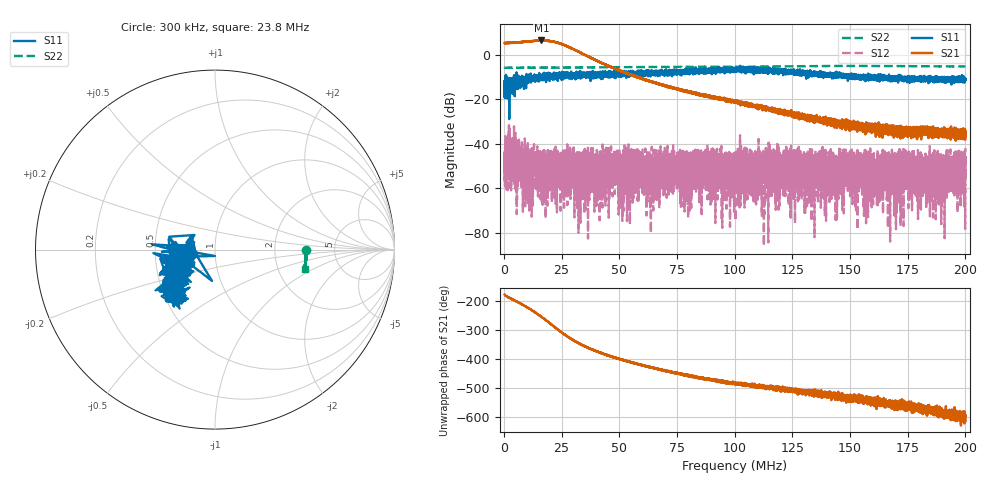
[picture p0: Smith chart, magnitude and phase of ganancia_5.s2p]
# Hz S DB R 50
! CMT, M5065, 19127446, 24.2.4/2
! Date: 11/8/2024 4:50:58 PM
! Data: Format (Calibration Info)
! Freq	S11:dB/Ang(F2)	S21:dB/Ang(F2)	S12:dB/Ang(F2)	S22:dB/Ang(F2)
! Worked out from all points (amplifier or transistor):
!   9000 points, 300 kHz to 200 MHz, reference 50 ohm
!   highest |S21| = 6.4 dB at 16.26 MHz (marker M1)
!   |S21| within 3 dB of that: start of sweep to 28.21 MHz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
!   unconditionally stable (mu >= 1): start of sweep to end of sweep
!   at 33.59 MHz: K = 156.48, MAG = 2.5 dB, |S12| = -54.3 dB
!   at 100.2 MHz: K = 492.59, MAG = -18.0 dB, |S12| = -44.6 dB
!   at 200 MHz: K = 2803.79, MAG = -34.8 dB, |S12| = -42.0 dB
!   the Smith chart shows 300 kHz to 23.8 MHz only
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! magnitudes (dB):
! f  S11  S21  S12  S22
! 300 kHz  -17.1  5.2  -43.9  -5.9
! 7.202 MHz  -14.0  5.6  -44.4  -5.9
! 9.376 MHz  -9.9  5.8  -60.5  -5.9
! 16.26 MHz  -9.3  6.4  -61.0  -5.8
! 33.59 MHz  -9.5  0.7  -54.3  -5.8
! 50.41 MHz  -9.6  -7.3  -59.9  -5.6
! 66.87 MHz  -8.5  -13.1  -48.5  -5.5
! 100.2 MHz  -6.0  -20.7  -44.6  -5.4
! 127.3 MHz  -7.2  -28.0  -49.6  -5.2
! 133.4 MHz  -8.6  -28.8  -52.3  -5.2
! 135.7 MHz  -8.9  -29.0  -49.8  -5.1
! 144 MHz  -9.3  -31.5  -51.8  -5.1
! 148.4 MHz  -9.2  -32.6  -46.9  -5.1
! 151.9 MHz  -10.7  -32.7  -50.1  -5.1
! 166.7 MHz  -10.4  -34.8  -43.8  -5.1
! 169.4 MHz  -11.4  -33.8  -49.2  -5.1
! 174.3 MHz  -10.9  -33.4  -48.7  -5.2
! 176.1 MHz  -10.9  -34.9  -53.0  -5.2
! 178 MHz  -10.7  -33.6  -53.8  -5.2
! 187.8 MHz  -10.5  -36.1  -56.5  -5.2
! 198.4 MHz  -11.0  -35.7  -48.4  -5.3
! 200 MHz  -11.6  -36.7  -42.0  -5.3
